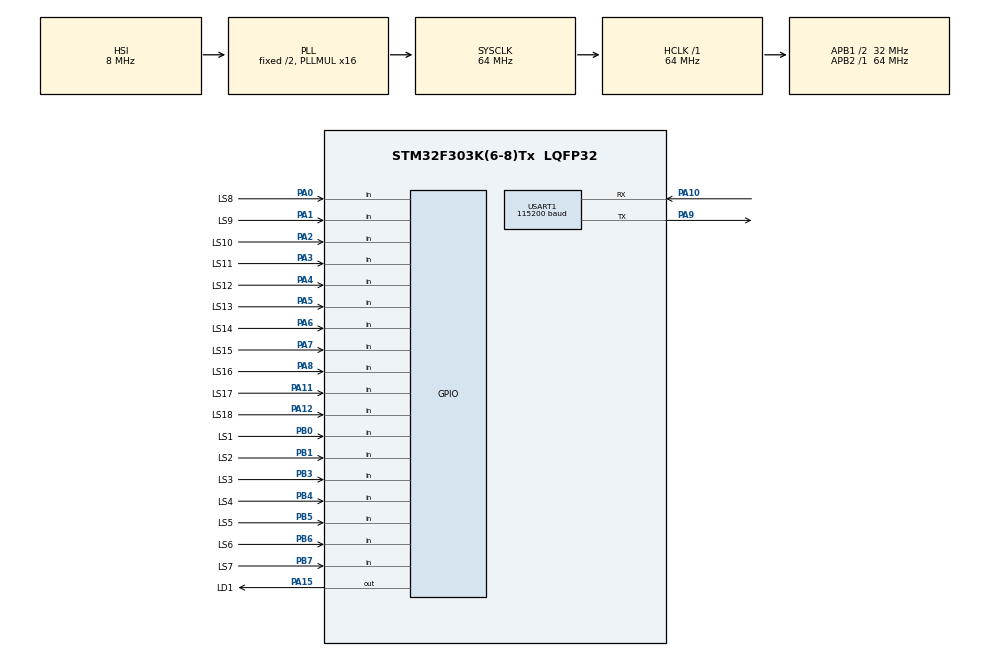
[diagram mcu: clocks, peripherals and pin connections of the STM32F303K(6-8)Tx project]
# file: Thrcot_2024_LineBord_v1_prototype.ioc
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Mcu.Family=STM32F3
Mcu.Name=STM32F303K(6-8)Tx
Mcu.Package=LQFP32
NVIC.PriorityGroup=NVIC_PRIORITYGROUP_4
NVIC.USART1_IRQn=true\:0\:0\:false\:false\:true\:true\:true\:true
PA0.GPIO_Label=LS8
PA0.Signal=GPIO_Input
PA1.GPIO_Label=LS9
PA1.Signal=GPIO_Input
PA10.Mode=Asynchronous
PA10.Signal=USART1_RX
PA11.GPIO_Label=LS17
PA11.Signal=GPIO_Input
PA12.GPIO_Label=LS18
PA12.Signal=GPIO_Input
PA13.Mode=Serial_Wire
PA13.Signal=SYS_JTMS-SWDIO
PA14.Mode=Serial_Wire
PA14.Signal=SYS_JTCK-SWCLK
PA15.GPIO_Label=LD1
PA15.Signal=GPIO_Output
PA2.GPIO_Label=LS10
PA2.Signal=GPIO_Input
PA3.GPIO_Label=LS11
PA3.Signal=GPIO_Input
PA4.GPIO_Label=LS12
PA4.Signal=GPIO_Input
PA5.GPIO_Label=LS13
PA5.Signal=GPIO_Input
PA6.GPIO_Label=LS14
PA6.Signal=GPIO_Input
PA7.GPIO_Label=LS15
PA7.Signal=GPIO_Input
PA8.GPIO_Label=LS16
PA8.Signal=GPIO_Input
PA9.Mode=Asynchronous
PA9.Signal=USART1_TX
PB0.GPIO_Label=LS1
PB0.Signal=GPIO_Input
PB1.GPIO_Label=LS2
PB1.Signal=GPIO_Input
PB3.GPIO_Label=LS3
PB3.Signal=GPIO_Input
PB4.GPIO_Label=LS4
PB4.Signal=GPIO_Input
PB5.GPIO_Label=LS5
PB5.Signal=GPIO_Input
PB6.GPIO_Label=LS6
PB6.Signal=GPIO_Input
PB7.GPIO_Label=LS7
PB7.Signal=GPIO_Input
ProjectManager.HeapSize=0x200
ProjectManager.StackSize=0x400
ProjectManager.TargetToolchain=STM32CubeIDE
RCC.AHBFreq_Value=64000000
RCC.APB1CLKDivider=RCC_HCLK_DIV2
RCC.APB1Freq_Value=32000000
RCC.APB1TimFreq_Value=64000000
RCC.APB2Freq_Value=64000000
RCC.APB2TimFreq_Value=64000000
RCC.CortexFreq_Value=64000000
RCC.HCLKFreq_Value=64000000
RCC.HSE_VALUE=8000000
RCC.HSI_VALUE=8000000
RCC.PLLMUL=RCC_PLL_MUL16
RCC.SYSCLKFreq_VALUE=64000000
RCC.SYSCLKSourceVirtual=RCC_SYSCLKSOURCE_PLLCLK
USART1.BaudRate=115200
USART1.VirtualMode-Asynchronous=VM_ASYNC
board=custom

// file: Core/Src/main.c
/* USER CODE BEGIN Header */
/**
  ******************************************************************************
  * @file           : main.c
  * @brief          : Main program body
  ******************************************************************************
  * @attention
  *
  * Copyright (c) 2024 STMicroelectronics.
  * All rights reserved.
  *
  * This software is licensed under terms that can be found in the LICENSE file
  * in the root directory of this software component.
  * If no LICENSE file comes with this software, it is provided AS-IS.
  *
  ******************************************************************************
  */
/* USER CODE END Header */
#include "main.h"

/* USER CODE BEGIN PD */
#define PI 3.1415926535
/* USER CODE END PD */

/* USER CODE BEGIN PM */
#define DEG_TO_RAD(x)	(x * PI / 180.0)
#define RAD_TO_DEG(x)	(x * 180.0 / PI)
/* USER CODE END PM */

UART_HandleTypeDef huart1;

/* USER CODE BEGIN PV */
uint32_t LinePort[18] = {
		(uint32_t)(LS1_GPIO_Port),
		(uint32_t)(LS18_GPIO_Port),
		(uint32_t)(LS17_GPIO_Port),
		(uint32_t)(LS16_GPIO_Port),
		(uint32_t)(LS15_GPIO_Port),
		(uint32_t)(LS14_GPIO_Port),
		(uint32_t)(LS13_GPIO_Port),
		(uint32_t)(LS12_GPIO_Port),
		(uint32_t)(LS11_GPIO_Port),
		(uint32_t)(LS10_GPIO_Port),
		(uint32_t)(LS9_GPIO_Port),
		(uint32_t)(LS8_GPIO_Port),
		(uint32_t)(LS7_GPIO_Port),
		(uint32_t)(LS6_GPIO_Port),
		(uint32_t)(LS5_GPIO_Port),
		(uint32_t)(LS4_GPIO_Port),
		(uint32_t)(LS3_GPIO_Port),
		(uint32_t)(LS2_GPIO_Port)
};

uint16_t LinePin[18] = {
		(uint16_t)(LS1_Pin),
		(uint16_t)(LS18_Pin),
		(uint16_t)(LS17_Pin),
		(uint16_t)(LS16_Pin),
		(uint16_t)(LS15_Pin),
		(uint16_t)(LS14_Pin),
		(uint16_t)(LS13_Pin),
		(uint16_t)(LS12_Pin),
		(uint16_t)(LS11_Pin),
		(uint16_t)(LS10_Pin),
		(uint16_t)(LS9_Pin),
		(uint16_t)(LS8_Pin),
		(uint16_t)(LS7_Pin),
		(uint16_t)(LS6_Pin),
		(uint16_t)(LS5_Pin),
		(uint16_t)(LS4_Pin),
		(uint16_t)(LS3_Pin),
		(uint16_t)(LS2_Pin)
};

uint8_t rx_buf[10];
uint8_t return_id[2] = {0xF3, 0x03};
uint8_t return_data[3] = {0xFF, 0xFF, 0xFF};
/* USER CODE END PV */

void SystemClock_Config(void);
static void MX_GPIO_Init(void);
static void MX_USART1_UART_Init(void);

int main(void)
{

  /* MCU Configuration--------------------------------------------------------*/

  /* Reset of all peripherals, Initializes the Flash interface and the Systick. */
  HAL_Init();

  /* Configure the system clock */
  SystemClock_Config();

  /* Initialize all configured peripherals */
  MX_GPIO_Init();
  MX_USART1_UART_Init();

  /* Infinite loop */
  while (1)
  {

    /* USER CODE BEGIN 3 */
	  uint8_t LineGet[3] = {0x00, 0x00, 0x00};

	  for (int i = 0; i < 18; i++) {
		  uint8_t LineState = 1 - HAL_GPIO_ReadPin((GPIO_TypeDef*)(LinePort[i]), LinePin[i]);

		  if (i == 0 || i == 1) {
			  LineGet[0] |= LineState << (i - 1);
		  } else if (i >= 2 && i <= 9) {
			  LineGet[1] |= LineState << (9 - i);
		  } else {
			  LineGet[2] |= LineState << (17 - i);
		  }
	  }

	  return_data[0] = return_data[1] = return_data[2] = 0x00;
	  if (LineGet[0] == 0x00 && LineGet[1] == 0x00 && LineGet[2] == 0x00) {
		  return_data[0] = return_data[1] = return_data[2] = 0xFF;
	  } else {
		  return_data[0] = LineGet[0];
		  return_data[1] = LineGet[1];
		  return_data[2] = LineGet[2];
	  }

	  HAL_UART_Receive_IT(&huart1, rx_buf, 2);
  }
  /* USER CODE END 3 */
}

void SystemClock_Config(void)
{
  RCC_OscInitTypeDef RCC_OscInitStruct = {0};
  RCC_ClkInitTypeDef RCC_ClkInitStruct = {0};
  RCC_PeriphCLKInitTypeDef PeriphClkInit = {0};

  /** Initializes the RCC Oscillators according to the specified parameters
  * in the RCC_OscInitTypeDef structure.
  */
  RCC_OscInitStruct.OscillatorType = RCC_OSCILLATORTYPE_HSI;
  RCC_OscInitStruct.HSIState = RCC_HSI_ON;
  RCC_OscInitStruct.HSICalibrationValue = RCC_HSICALIBRATION_DEFAULT;
  RCC_OscInitStruct.PLL.PLLState = RCC_PLL_ON;
  RCC_OscInitStruct.PLL.PLLSource = RCC_PLLSOURCE_HSI;
  RCC_OscInitStruct.PLL.PLLMUL = RCC_PLL_MUL16;
  if (HAL_RCC_OscConfig(&RCC_OscInitStruct) != HAL_OK)
  {
    Error_Handler();
  }

  /** Initializes the CPU, AHB and APB buses clocks
  */
  RCC_ClkInitStruct.ClockType = RCC_CLOCKTYPE_HCLK|RCC_CLOCKTYPE_SYSCLK
                              |RCC_CLOCKTYPE_PCLK1|RCC_CLOCKTYPE_PCLK2;
  RCC_ClkInitStruct.SYSCLKSource = RCC_SYSCLKSOURCE_PLLCLK;
  RCC_ClkInitStruct.AHBCLKDivider = RCC_SYSCLK_DIV1;
  RCC_ClkInitStruct.APB1CLKDivider = RCC_HCLK_DIV2;
  RCC_ClkInitStruct.APB2CLKDivider = RCC_HCLK_DIV1;

  if (HAL_RCC_ClockConfig(&RCC_ClkInitStruct, FLASH_LATENCY_2) != HAL_OK)
  {
    Error_Handler();
  }
  PeriphClkInit.PeriphClockSelection = RCC_PERIPHCLK_USART1;
  PeriphClkInit.Usart1ClockSelection = RCC_USART1CLKSOURCE_PCLK1;
  if (HAL_RCCEx_PeriphCLKConfig(&PeriphClkInit) != HAL_OK)
  {
    Error_Handler();
  }
}

static void MX_USART1_UART_Init(void)
{

  huart1.Instance = USART1;
  huart1.Init.BaudRate = 115200;
  huart1.Init.WordLength = UART_WORDLENGTH_8B;
  huart1.Init.StopBits = UART_STOPBITS_1;
  huart1.Init.Parity = UART_PARITY_NONE;
  huart1.Init.Mode = UART_MODE_TX_RX;
  huart1.Init.HwFlowCtl = UART_HWCONTROL_NONE;
  huart1.Init.OverSampling = UART_OVERSAMPLING_16;
  huart1.Init.OneBitSampling = UART_ONE_BIT_SAMPLE_DISABLE;
  huart1.AdvancedInit.AdvFeatureInit = UART_ADVFEATURE_NO_INIT;
  if (HAL_UART_Init(&huart1) != HAL_OK)
  {
    Error_Handler();
  }

}

static void MX_GPIO_Init(void)
{
  GPIO_InitTypeDef GPIO_InitStruct = {0};

  /* GPIO Ports Clock Enable */
  __HAL_RCC_GPIOA_CLK_ENABLE();
  __HAL_RCC_GPIOB_CLK_ENABLE();

  /*Configure GPIO pin Output Level */
  HAL_GPIO_WritePin(LD1_GPIO_Port, LD1_Pin, GPIO_PIN_RESET);

  /*Configure GPIO pins : LS8_Pin LS9_Pin LS10_Pin LS11_Pin
                           LS12_Pin LS13_Pin LS14_Pin LS15_Pin
                           LS16_Pin LS17_Pin LS18_Pin */
  GPIO_InitStruct.Pin = LS8_Pin|LS9_Pin|LS10_Pin|LS11_Pin
                          |LS12_Pin|LS13_Pin|LS14_Pin|LS15_Pin
                          |LS16_Pin|LS17_Pin|LS18_Pin;
  GPIO_InitStruct.Mode = GPIO_MODE_INPUT;
  GPIO_InitStruct.Pull = GPIO_NOPULL;
  HAL_GPIO_Init(GPIOA, &GPIO_InitStruct);

  /*Configure GPIO pins : LS1_Pin LS2_Pin LS3_Pin LS4_Pin
                           LS5_Pin LS6_Pin LS7_Pin */
  GPIO_InitStruct.Pin = LS1_Pin|LS2_Pin|LS3_Pin|LS4_Pin
                          |LS5_Pin|LS6_Pin|LS7_Pin;
  GPIO_InitStruct.Mode = GPIO_MODE_INPUT;
  GPIO_InitStruct.Pull = GPIO_NOPULL;
  HAL_GPIO_Init(GPIOB, &GPIO_InitStruct);

  /*Configure GPIO pin : LD1_Pin */
  GPIO_InitStruct.Pin = LD1_Pin;
  GPIO_InitStruct.Mode = GPIO_MODE_OUTPUT_PP;
  GPIO_InitStruct.Pull = GPIO_NOPULL;
  GPIO_InitStruct.Speed = GPIO_SPEED_FREQ_LOW;
  HAL_GPIO_Init(LD1_GPIO_Port, &GPIO_InitStruct);

}

/* USER CODE BEGIN 4 */
void HAL_UART_RxCpltCallback(UART_HandleTypeDef *huart)
{
	HAL_GPIO_TogglePin(LD1_GPIO_Port, LD1_Pin);

	if (rx_buf[0] == 0xF3 && rx_buf[1] == 0x03) {
		HAL_UART_Transmit(&huart1, return_id, 2, 1000);
	} else if (rx_buf[0] == 0xF0 && rx_buf[1] == 0x33) {
		HAL_UART_Transmit(&huart1, return_data, 3, 1000);
	}
}
/* USER CODE END 4 */

void Error_Handler(void)
{
  __disable_irq();
  while (1)
  {
  }
}
